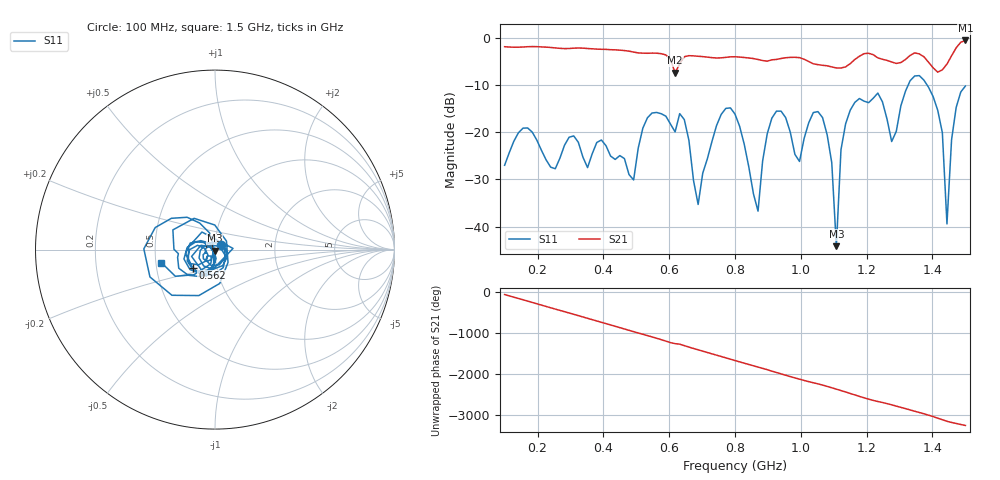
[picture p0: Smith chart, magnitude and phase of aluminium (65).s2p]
! NanoVNA-App
! Date: 2025-09-25 14:55:47
! Start: 100MHz Stop: 1,5GHz Points: 101
! S-Parameter data: F S11 S21 S12 S22
# Hz S RI R 50
!  Frequency  S11_Real  S11_Imag  S21_Real  S21_Imag  S12_Real  S12_Imag  S22_Real  S22_Imag
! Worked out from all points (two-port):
!   101 points, 100 MHz to 1.5 GHz, reference 50 ohm
!   highest |S21| = -0.60 dB at 1.5 GHz (marker M1); lowest = -7.4 dB at 618 MHz (marker M2)
!   |S21| within 3 dB of the highest: start of sweep to 586.6 MHz; 1.46 GHz to end of sweep (the widest 2 of 4)
!   lowest |S11| = -44.1 dB at 1.108 GHz (marker M3), VSWR 1.01, Z = 49.9 - j0.616 ohm
!   |S11| at or under -10 dB: start of sweep to 1.326 GHz; 1.383 GHz to end of sweep
!   S12 and S22 are empty: the file has one direction only
!   S11 on the Smith chart (normalised r, x): 100 MHz: 1.07, +0.06; 562 MHz: 0.76, -0.16; 1.5 GHz: 0.53, -0.09
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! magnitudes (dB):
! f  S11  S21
! 100 MHz  -27.0  -1.9
! 338 MHz  -25.3  -2.2
! 492 MHz  -30.1  -3.1
! 562 MHz  -15.8  -3.3
! 576 MHz  -16.1  -3.4
! 618 MHz  -19.9  -7.4
! 688 MHz  -35.3  -3.9
! 800 MHz  -16.2  -4.0
! 870 MHz  -36.7  -4.6
! 912 MHz  -17.0  -4.7
! 996 MHz  -26.2  -4.2
! 1.038 GHz  -15.8  -5.5
! 1.08 GHz  -20.6  -6.0
! 1.108 GHz  -44.1  -6.4
! 1.122 GHz  -23.7  -6.4
! 1.15 GHz  -15.4  -5.5
! 1.276 GHz  -22.0  -5.1
! 1.374 GHz  -9.0  -4.0
! 1.43 GHz  -20.1  -6.8
! 1.444 GHz  -39.4  -5.6
! 1.458 GHz  -21.6  -3.8
! 1.5 GHz  -10.2  -0.6
